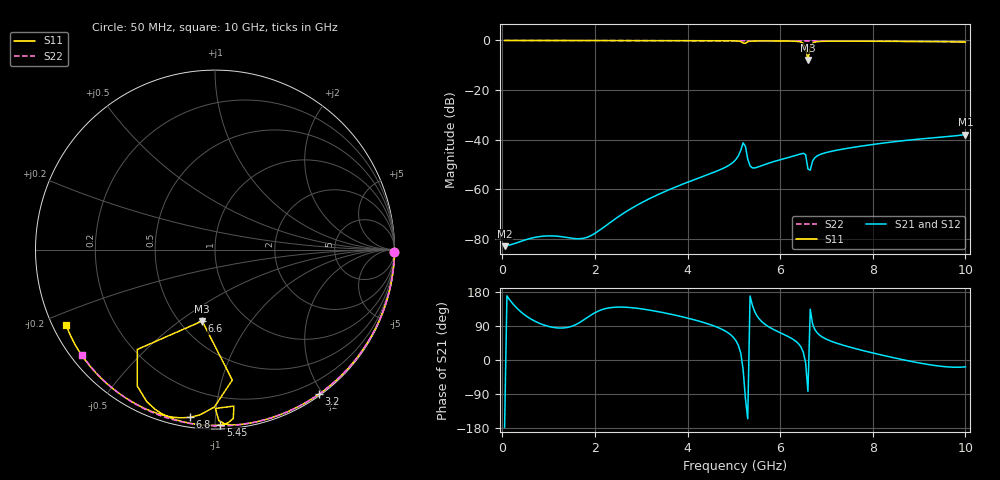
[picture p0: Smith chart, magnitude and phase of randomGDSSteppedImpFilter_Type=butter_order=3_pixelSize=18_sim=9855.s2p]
! freq	dB(S11)	phase(S11)	dB(S12)	phase(S12)
!  dB(S21)	phase(S21)	dB(S22)	phase(S22)
!S-par simulation data
#  GHz  S  DB  R 50
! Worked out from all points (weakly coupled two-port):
!   200 points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, 50 MHz to 10 GHz, reference 50 ohm
!   highest |S21| = -37.92 dB at 10 GHz (marker M1); lowest = -82.9 dB at 50 MHz (marker M2)
!   lowest |S11| = -7.9 dB at 6.6 GHz (marker M3), VSWR 2.36, Z = 32 - j30.5 ohm
!   |S11| at or under -10 dB: nowhere
!   |S22| runs from -0.5 to 0.0 dB; largest |S21 - S12| = 0
!   S11 on the Smith chart (normalised r, x): 50 MHz: open; 3.2 GHz: 0.02, -1.95; 5.45 GHz: 0.02, -1.03; 6.6 GHz: 0.64, -0.61; 6.8 GHz: 0.05, -0.86; 10 GHz: 0.04, -0.24
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0.05  -0.00 -0.9  -82.93 -178.0  -82.93 -178.0  -0.00 -0.8
1  -0.02 -17.4  -78.78 88.6  -78.78 88.6  -0.02 -16.3
1.75  -0.04 -30.3  -79.76 105.2  -79.76 105.2  -0.04 -28.2
3.2  -0.07 -54.4  -63.58 131.2  -63.58 131.2  -0.07 -50.7
3.4  -0.08 -57.6  -61.82 126.8  -61.82 126.8  -0.07 -53.7
4.75  -0.12 -79.5  -51.72 80.6  -51.72 80.6  -0.11 -73.4
5.05  -0.19 -85.4  -47.84 50.0  -47.84 50.0  -0.12 -77.6
5.2  -1.06 -89.8  -41.28 -25.0  -41.28 -25.0  -0.13 -79.7
5.25  -1.13 -83.1  -42.71 -101.0  -42.71 -101.0  -0.13 -80.4
5.3  -0.48 -83.8  -47.82 -155.2  -47.82 -155.2  -0.13 -81.0
5.35  -0.29 -85.6  -50.55 169.0  -50.55 169.0  -0.13 -81.7
5.45  -0.20 -88.3  -51.40 127.9  -51.40 127.9  -0.13 -83.1
6.4  -0.45 -110.7  -45.99 42.5  -45.99 42.5  -0.18 -95.9
6.5  -1.16 -119.6  -45.51 20.6  -45.51 20.6  -0.18 -97.3
6.55  -3.04 -127.9  -46.05 -7.8  -46.05 -7.8  -0.19 -97.9
6.6  -7.87 -100.1  -51.82 -82.6  -51.82 -82.6  -0.19 -98.6
6.65  -2.69 -82.5  -52.30 134.1  -52.30 134.1  -0.19 -99.2
6.7  -1.13 -90.2  -48.62 95.3  -48.62 95.3  -0.19 -99.9
6.8  -0.50 -98.5  -46.55 71.6  -46.55 71.6  -0.20 -101.2
7.25  -0.28 -110.8  -44.15 43.2  -44.15 43.2  -0.23 -107.0
8.35  -0.35 -127.9  -41.08 8.7  -41.08 8.7  -0.31 -121.0
10  -0.64 -153.2  -37.92 -18.1  -37.92 -18.1  -0.49 -141.5
